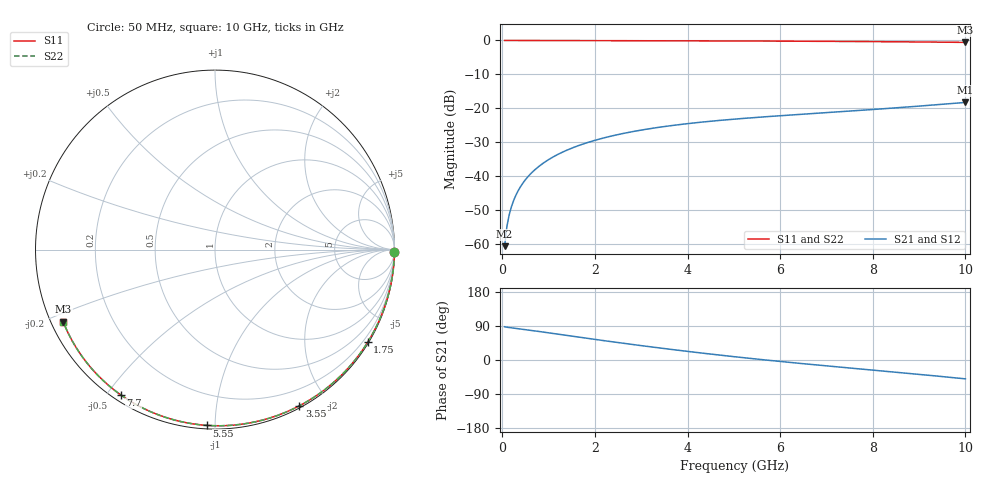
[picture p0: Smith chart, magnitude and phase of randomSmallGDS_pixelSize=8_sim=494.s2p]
! freq	dB(S11)	phase(S11)	dB(S12)	phase(S12)
!  dB(S21)	phase(S21)	dB(S22)	phase(S22)
!S-par simulation data
#  GHz  S  DB  R 50
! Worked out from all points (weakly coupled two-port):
!   200 points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, 50 MHz to 10 GHz, reference 50 ohm
!   highest |S21| = -18.25 dB at 10 GHz (marker M1); lowest = -60.6 dB at 50 MHz (marker M2)
!   lowest |S11| = -0.6 dB at 10 GHz (marker M3), VSWR 30.50, Z = 1.72 - j11.3 ohm
!   |S11| at or under -10 dB: nowhere
!   |S22| runs from -0.6 to 0.0 dB; largest |S21 - S12| = 0
!   S11 on the Smith chart (normalised r, x): 50 MHz: open; 1.75 GHz: 0.03, -3.57; 3.55 GHz: 0.02, -1.68; 5.55 GHz: 0.02, -0.96; 7.7 GHz: 0.02, -0.54; 10 GHz: 0.03, -0.23
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0.05  -0.00 -0.9  -60.57 87.7  -60.57 87.7  -0.00 -0.9
0.1  -0.00 -1.8  -54.70 86.5  -54.70 86.5  -0.00 -1.8
0.15  -0.00 -2.7  -51.28 85.7  -51.28 85.7  -0.00 -2.7
0.2  -0.00 -3.6  -48.84 85.0  -48.84 85.0  -0.00 -3.6
0.25  -0.00 -4.6  -46.94 84.3  -46.94 84.3  -0.00 -4.6
0.35  -0.00 -6.4  -44.06 82.7  -44.06 82.7  -0.00 -6.4
0.5  -0.01 -9.1  -41.00 80.3  -41.00 80.3  -0.01 -9.1
0.7  -0.01 -12.7  -38.11 76.9  -38.11 76.9  -0.01 -12.7
1  -0.02 -18.0  -35.08 71.6  -35.08 71.6  -0.02 -18.0
1.35  -0.03 -24.3  -32.57 65.5  -32.57 65.5  -0.03 -24.3
1.75  -0.04 -31.3  -30.46 58.6  -30.46 58.6  -0.04 -31.3
2.5  -0.06 -44.2  -27.70 46.0  -27.70 46.0  -0.06 -44.2
3.4  -0.09 -59.2  -25.54 31.7  -25.54 31.7  -0.09 -59.2
3.55  -0.09 -61.6  -25.25 29.4  -25.25 29.4  -0.09 -61.6
4.3  -0.12 -73.6  -24.05 18.4  -24.05 18.4  -0.12 -73.6
5.05  -0.15 -85.1  -23.12 8.2  -23.12 8.2  -0.15 -85.1
5.55  -0.17 -92.6  -22.60 1.7  -22.60 1.7  -0.17 -92.6
6.7  -0.24 -109.1  -21.53 -12.1  -21.53 -12.1  -0.24 -109.1
7.7  -0.31 -123.0  -20.62 -23.3  -20.62 -23.3  -0.31 -123.0
8.35  -0.37 -131.9  -19.99 -30.5  -19.99 -30.5  -0.37 -131.9
9.2  -0.46 -143.5  -19.12 -40.2  -19.12 -40.2  -0.46 -143.5
10  -0.57 -154.6  -18.25 -49.8  -18.25 -49.8  -0.57 -154.6
